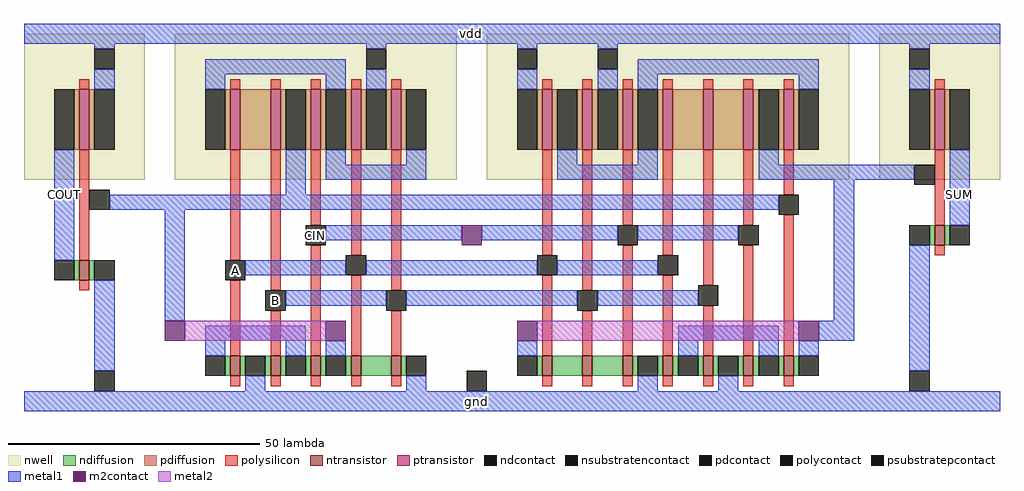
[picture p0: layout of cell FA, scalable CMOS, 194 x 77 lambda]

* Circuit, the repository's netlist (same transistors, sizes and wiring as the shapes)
*SPICE circuit <FA> from XCircuit v3.9 rev 72

M2 COUT int15 GND gnd nfet w=4 l=2
M1 COUT int15 VDD vdd pfet W=12 L=2 M=1
M10 int38 A GND gnd nfet w=4 l=2
M11 int38 B GND gnd nfet w=4 l=2
M8 int15 CIN int38 gnd nfet w=4 l=2
M12 int37 B GND gnd nfet w=4 l=2
M9 int15 A int37 gnd nfet w=4 l=2
M6 int15 CIN int33 vdd pfet W=12 L=2 M=1
M7 int15 B int34 vdd pfet W=12 L=2 M=1
M5 int34 A int33 vdd pfet W=12 L=2 M=1
M3 int33 A VDD vdd pfet W=12 L=2 M=1
M4 int33 B VDD vdd pfet W=12 L=2 M=1
M28 SUM int12 GND gnd nfet w=4 l=2
M21 int16 A GND gnd nfet w=4 l=2
M22 int16 B GND gnd nfet w=4 l=2
M23 int16 CIN GND gnd nfet w=4 l=2
M20 int12 int15 int16 gnd nfet w=4 l=2
M26 int14 CIN GND gnd nfet w=4 l=2
M25 int13 B int14 gnd nfet w=4 l=2
M24 int12 A int13 gnd nfet w=4 l=2
M27 SUM int12 VDD vdd pfet W=12 L=2 M=1
M16 int12 int15 int9 vdd pfet W=12 L=2 M=1
M19 int12 CIN int11 vdd pfet W=12 L=2 M=1
M18 int11 B int10 vdd pfet W=12 L=2 M=1
M17 int10 A int9 vdd pfet W=12 L=2 M=1
M13 int9 CIN VDD vdd pfet W=12 L=2 M=1
M15 int9 A VDD vdd pfet W=12 L=2 M=1
M14 int9 B VDD vdd pfet W=12 L=2 M=1

.end

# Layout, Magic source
magic
tech scmos
<< nwell >>
rect 0 -4 24 25
rect 30 -4 86 25
rect 92 -4 164 25
rect 170 -4 194 25
<< ntransistor >>
rect 11 -24 13 -20
rect 181 -17 183 -13
rect 41 -43 43 -39
rect 49 -43 51 -39
rect 57 -43 59 -39
rect 65 -43 67 -39
rect 73 -43 75 -39
rect 103 -43 105 -39
rect 111 -43 113 -39
rect 119 -43 121 -39
rect 127 -43 129 -39
rect 135 -43 137 -39
rect 143 -43 145 -39
rect 151 -43 153 -39
<< ptransistor >>
rect 11 2 13 14
rect 41 2 43 14
rect 49 2 51 14
rect 57 2 59 14
rect 65 2 67 14
rect 73 2 75 14
rect 103 2 105 14
rect 111 2 113 14
rect 119 2 121 14
rect 127 2 129 14
rect 135 2 137 14
rect 143 2 145 14
rect 151 2 153 14
rect 181 2 183 14
<< ndiffusion >>
rect 10 -24 11 -20
rect 13 -24 14 -20
rect 180 -17 181 -13
rect 183 -17 184 -13
rect 40 -43 41 -39
rect 43 -43 44 -39
rect 48 -43 49 -39
rect 51 -43 52 -39
rect 56 -43 57 -39
rect 59 -43 60 -39
rect 64 -43 65 -39
rect 67 -43 73 -39
rect 75 -43 76 -39
rect 102 -43 103 -39
rect 105 -43 111 -39
rect 113 -43 119 -39
rect 121 -43 122 -39
rect 126 -43 127 -39
rect 129 -43 130 -39
rect 134 -43 135 -39
rect 137 -43 138 -39
rect 142 -43 143 -39
rect 145 -43 146 -39
rect 150 -43 151 -39
rect 153 -43 154 -39
<< pdiffusion >>
rect 10 2 11 14
rect 13 2 14 14
rect 40 2 41 14
rect 43 2 49 14
rect 51 2 52 14
rect 56 2 57 14
rect 59 2 60 14
rect 64 2 65 14
rect 67 2 68 14
rect 72 2 73 14
rect 75 2 76 14
rect 102 2 103 14
rect 105 2 106 14
rect 110 2 111 14
rect 113 2 114 14
rect 118 2 119 14
rect 121 2 122 14
rect 126 2 127 14
rect 129 2 135 14
rect 137 2 143 14
rect 145 2 146 14
rect 150 2 151 14
rect 153 2 154 14
rect 180 2 181 14
rect 183 2 184 14
<< ndcontact >>
rect 6 -24 10 -20
rect 14 -24 18 -20
rect 176 -17 180 -13
rect 184 -17 188 -13
rect 36 -43 40 -39
rect 44 -43 48 -39
rect 52 -43 56 -39
rect 60 -43 64 -39
rect 76 -43 80 -39
rect 98 -43 102 -39
rect 122 -43 126 -39
rect 130 -43 134 -39
rect 138 -43 142 -39
rect 146 -43 150 -39
rect 154 -43 158 -39
<< pdcontact >>
rect 6 2 10 14
rect 14 2 18 14
rect 36 2 40 14
rect 52 2 56 14
rect 60 2 64 14
rect 68 2 72 14
rect 76 2 80 14
rect 98 2 102 14
rect 106 2 110 14
rect 114 2 118 14
rect 122 2 126 14
rect 146 2 150 14
rect 154 2 158 14
rect 176 2 180 14
rect 184 2 188 14
<< psubstratepcontact >>
rect 14 -46 18 -42
rect 88 -46 92 -42
rect 176 -46 180 -42
<< nsubstratencontact >>
rect 14 18 18 22
rect 68 18 72 22
rect 98 18 102 22
rect 114 18 118 22
rect 176 18 180 22
<< polysilicon >>
rect 11 14 13 16
rect 41 14 43 16
rect 49 14 51 16
rect 57 14 59 16
rect 65 14 67 16
rect 73 14 75 16
rect 103 14 105 16
rect 111 14 113 16
rect 119 14 121 16
rect 127 14 129 16
rect 135 14 137 16
rect 143 14 145 16
rect 151 14 153 16
rect 181 14 183 16
rect 11 -20 13 2
rect 41 -20 43 2
rect 11 -26 13 -24
rect 41 -39 43 -24
rect 49 -26 51 2
rect 57 -13 59 2
rect 49 -39 51 -30
rect 57 -39 59 -17
rect 65 -19 67 2
rect 65 -39 67 -23
rect 73 -26 75 2
rect 103 -19 105 2
rect 73 -39 75 -30
rect 103 -39 105 -23
rect 111 -26 113 2
rect 119 -13 121 2
rect 111 -39 113 -30
rect 119 -39 121 -17
rect 127 -19 129 2
rect 127 -39 129 -23
rect 135 -25 137 2
rect 143 -13 145 2
rect 151 -7 153 2
rect 135 -39 137 -29
rect 143 -39 145 -17
rect 151 -39 153 -11
rect 181 -13 183 2
rect 181 -19 183 -17
rect 41 -45 43 -43
rect 49 -45 51 -43
rect 57 -45 59 -43
rect 65 -45 67 -43
rect 73 -45 75 -43
rect 103 -45 105 -43
rect 111 -45 113 -43
rect 119 -45 121 -43
rect 127 -45 129 -43
rect 135 -45 137 -43
rect 143 -45 145 -43
rect 151 -45 153 -43
<< polycontact >>
rect 13 -10 17 -6
rect 40 -24 44 -20
rect 56 -17 60 -13
rect 48 -30 52 -26
rect 64 -23 68 -19
rect 102 -23 106 -19
rect 72 -30 76 -26
rect 118 -17 122 -13
rect 110 -30 114 -26
rect 126 -23 130 -19
rect 177 -5 181 -1
rect 150 -11 154 -7
rect 142 -17 146 -13
rect 134 -29 138 -25
<< metal1 >>
rect 0 23 194 27
rect 14 22 18 23
rect 68 22 72 23
rect 14 14 18 18
rect 36 17 64 20
rect 36 14 40 17
rect 60 14 64 17
rect 6 -20 10 2
rect 52 -7 56 2
rect 68 14 72 18
rect 98 22 102 23
rect 98 14 102 18
rect 114 22 118 23
rect 176 22 180 23
rect 114 14 118 18
rect 122 17 158 20
rect 122 14 126 17
rect 154 14 158 17
rect 60 -1 64 2
rect 76 -1 80 2
rect 60 -4 80 -1
rect 106 -1 110 2
rect 122 -1 126 2
rect 106 -4 126 -1
rect 176 14 180 18
rect 146 -1 150 2
rect 146 -4 177 -1
rect 17 -10 150 -7
rect 14 -42 18 -24
rect 28 -32 32 -10
rect 60 -16 87 -13
rect 91 -16 118 -13
rect 122 -16 142 -13
rect 44 -23 64 -20
rect 68 -23 102 -20
rect 106 -23 126 -20
rect 52 -29 72 -26
rect 76 -29 110 -26
rect 114 -29 134 -26
rect 161 -32 165 -4
rect 184 -13 188 2
rect 36 -36 56 -33
rect 36 -39 40 -36
rect 52 -39 56 -36
rect 60 -39 64 -36
rect 98 -39 102 -36
rect 130 -36 150 -33
rect 130 -39 134 -36
rect 146 -39 150 -36
rect 44 -46 48 -43
rect 76 -46 80 -43
rect 158 -36 165 -32
rect 154 -39 158 -36
rect 176 -42 180 -17
rect 122 -46 126 -43
rect 138 -46 142 -43
rect 0 -50 194 -46
<< m2contact >>
rect 87 -17 91 -13
rect 28 -36 32 -32
rect 60 -36 64 -32
rect 98 -36 102 -32
rect 154 -36 158 -32
<< metal2 >>
rect 32 -36 60 -32
rect 102 -36 154 -32
<< labels >>
rlabel metal1 8 -7 8 -7 1 COUT
rlabel metal1 89 25 89 25 5 vdd
rlabel metal1 90 -48 90 -48 1 gnd
rlabel metal1 186 -7 186 -7 1 SUM
rlabel polycontact 50 -28 50 -28 1 B
rlabel polycontact 58 -15 58 -15 1 CIN
rlabel polycontact 42 -22 42 -22 1 A
<< end >>
